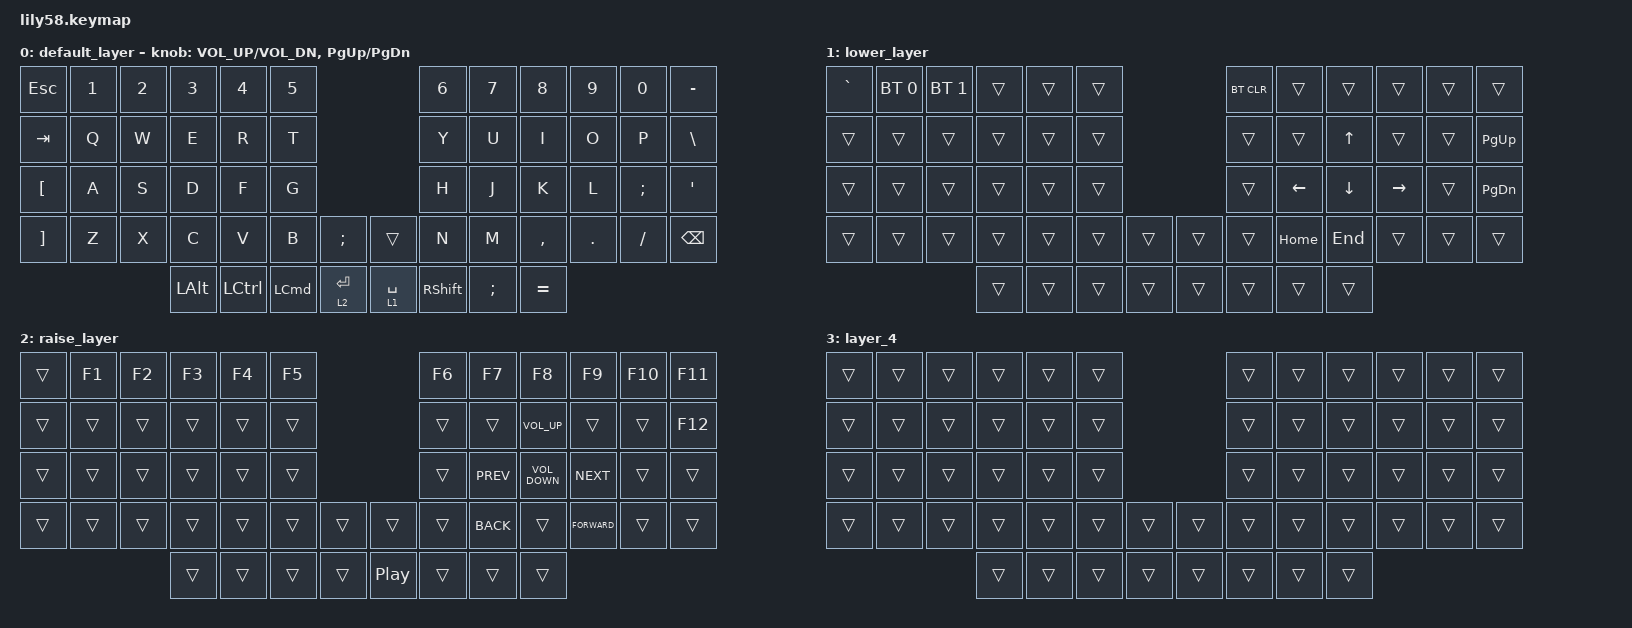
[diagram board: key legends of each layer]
/*
 * Copyright (c) 2020 The ZMK Contributors
 *
 * SPDX-License-Identifier: MIT
 */

#include <behaviors.dtsi>
#include <dt-bindings/zmk/bt.h>
#include <dt-bindings/zmk/keys.h>

/ {
    combos { compatible = "zmk,combos"; };

    behaviors {
        hold_kp: hold_kp {
            compatible = "zmk,behavior-hold-tap";
            label = "HOLD_KP";
            bindings = <&kp>, <&kp>;

            #binding-cells = <2>;
            tapping-term-ms = <100>;
        };

        hold_layer: hold_layer {
            compatible = "zmk,behavior-hold-tap";
            label = "HOLD_LAYER";
            bindings = <&kp>, <&mo>;

            #binding-cells = <2>;
            tapping-term-ms = <100>;
        };
    };

    keymap {
        compatible = "zmk,keymap";

        default_layer {
            // ------------------------------------------------------------------------------------------------------------
            // |  ESC  |  1  |  2  |  3   |  4   |  5   |                   |  6   |  7    |  8    |  9   |   0   |   `   |
            // |  TAB  |  Q  |  W  |  E   |  R   |  T   |                   |  Y   |  U    |  I    |  O   |   P   |   -   |
            // |  CTRL |  A  |  S  |  D   |  F   |  G   |                   |  H   |  J    |  K    |  L   |   ;   |   '   |
            // | SHIFT |  Z  |  X  |  C   |  V   |  B   |   "["  |  |  "]"  |  N   |  M    |  ,    |  .   |   /   | SHIFT |
            //                     | ALT  | GUI  | LOWER|  SPACE |  | ENTER | RAISE| BSPC  | GUI   |

            bindings = <
&kp ESC            &kp N1  &kp N2  &kp N3        &kp N4            &kp N5                                        &kp N6           &kp N7    &kp N8     &kp N9   &kp N0    &kp MINUS
&kp TAB            &kp Q   &kp W   &kp E         &kp R             &kp T                                         &kp Y            &kp U     &kp I      &kp O    &kp P     &kp BACKSLASH
&kp LEFT_BRACKET   &kp A   &kp S   &kp D         &kp F             &kp G                                         &kp H            &kp J     &kp K      &kp L    &kp SEMI  &kp SQT
&kp RIGHT_BRACKET  &kp Z   &kp X   &kp C         &kp V             &kp B             &kp SEMI       &trans       &kp N            &kp M     &kp COMMA  &kp DOT  &kp FSLH  &kp BACKSPACE
                                   &kp LEFT_ALT  &kp LEFT_CONTROL  &kp LEFT_COMMAND  &lt 2 ENTER    &lt 1 SPACE  &kp RIGHT_SHIFT  &kp SEMI  &kp EQUAL
            >;

            sensor-bindings = <&inc_dec_kp C_VOL_UP C_VOL_DN &inc_dec_kp PG_UP PG_DN>;
        };

        lower_layer {
            // ------------------------------------------------------------------------------------------------------------
            // | BTCLR | BT1 | BT2 |  BT3 |  BT4 |  BT5 |                   |      |       |       |      |       |       |
            // |  F1   |  F2 |  F3 |  F4  |  F5  |  F6  |                   |  F7  |  F8   |  F9   |  F10 |  F11  |  F12  |
            // |   `   |  !  |  @  |  #   |  $   |  %   |                   |  ^   |  &    |  *    |  (   |   )   |   ~   |
            // |       |     |     |      |      |      |        |  |       |      |  _    |  +    |  {   |   }   |  "|"  |
            //                     |      |      |      |        |  |       |      |       |       |

            bindings = <
&kp GRAVE  &bt BT_SEL 0  &bt BT_SEL 1  &trans  &trans  &trans                    &bt BT_CLR  &trans          &trans          &trans           &trans  &trans
&trans     &trans        &trans        &trans  &trans  &trans                    &trans      &trans          &kp UP_ARROW    &trans           &trans  &kp PG_UP
&trans     &trans        &trans        &trans  &trans  &trans                    &trans      &kp LEFT_ARROW  &kp DOWN_ARROW  &kp RIGHT_ARROW  &trans  &kp PAGE_DOWN
&trans     &trans        &trans        &trans  &trans  &trans  &trans    &trans  &trans      &kp HOME        &kp END         &trans           &trans  &trans
                                       &trans  &trans  &trans  &trans    &trans  &trans      &trans          &trans
            >;
        };

        raise_layer {
            bindings = <
&trans  &kp F1  &kp F2  &kp F3  &kp F4  &kp F5                              &kp F6  &kp F7      &kp F8             &kp F9         &kp F10  &kp F11
&trans  &trans  &trans  &trans  &trans  &trans                              &trans  &trans      &kp C_VOLUME_UP    &trans         &trans   &kp F12
&trans  &trans  &trans  &trans  &trans  &trans                              &trans  &kp C_PREV  &kp C_VOLUME_DOWN  &kp C_NEXT     &trans   &trans
&trans  &trans  &trans  &trans  &trans  &trans  &trans    &trans            &trans  &kp K_BACK  &trans             &kp K_FORWARD  &trans   &trans
                        &trans  &trans  &trans  &trans    &kp C_PLAY_PAUSE  &trans  &trans      &trans
            >;
        };

        layer_4 {
            bindings = <
&trans  &trans  &trans  &trans  &trans  &trans                    &trans  &trans  &trans  &trans  &trans  &trans
&trans  &trans  &trans  &trans  &trans  &trans                    &trans  &trans  &trans  &trans  &trans  &trans
&trans  &trans  &trans  &trans  &trans  &trans                    &trans  &trans  &trans  &trans  &trans  &trans
&trans  &trans  &trans  &trans  &trans  &trans  &trans    &trans  &trans  &trans  &trans  &trans  &trans  &trans
                        &trans  &trans  &trans  &trans    &trans  &trans  &trans  &trans
            >;
        };
    };
};
